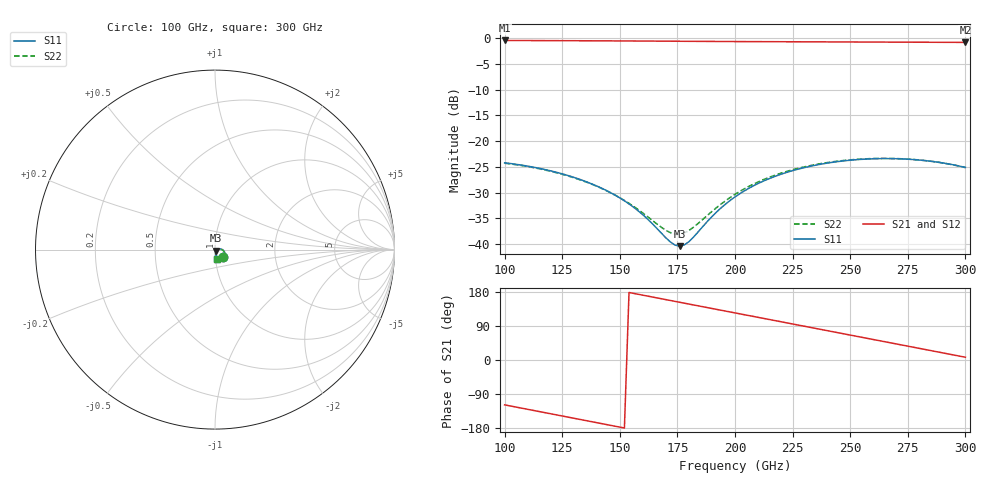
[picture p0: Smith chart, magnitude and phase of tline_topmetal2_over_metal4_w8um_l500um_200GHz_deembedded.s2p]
! Created with skrf 2.2.0 (http://scikit-rf.org).
# GHz S DB R 50.0
! Port[1] = P1
! Port[2] = P2
!freq dBS11 angS11 dBS21 angS21 dBS12 angS12 dBS22 angS22
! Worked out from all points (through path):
!   101 points, 100 GHz to 300 GHz, reference 50 ohm
!   highest |S21| = -0.43 dB at 100 GHz (marker M1); lowest = -0.8 dB at 300 GHz (marker M2)
!   group delay of S21, straight-line fit = 3.25 ps
!   lowest |S11| = -40.4 dB at 176 GHz (marker M3), VSWR 1.02, Z = 50.8 - j0.581 ohm
!   |S11| at or under -10 dB: start of sweep to end of sweep
!   |S22| runs from -38.1 to -23.4 dB; largest |S21 - S12| = 1.1e-14
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100  -24.22 -45.4  -0.43 -118.4  -0.43 -118.4  -24.30 -44.2
108  -24.72 -52.6  -0.44 -127.8  -0.44 -127.8  -24.80 -51.1
118  -25.58 -61.2  -0.46 -139.5  -0.46 -139.5  -25.66 -59.3
134  -27.65 -73.7  -0.49 -158.3  -0.49 -158.3  -27.73 -70.7
144  -29.57 -79.9  -0.51 -170.1  -0.51 -170.1  -29.60 -75.7
152  -31.61 -82.9  -0.53 -179.5  -0.53 -179.5  -31.54 -77.3
160  -34.32 -82.1  -0.54 171.1  -0.54 171.1  -33.98 -74.3
168  -37.88 -71.3  -0.56 161.7  -0.56 161.7  -36.75 -61.6
172  -39.63 -57.5  -0.57 157.0  -0.57 157.0  -37.81 -49.3
176  -40.43 -36.9  -0.58 152.3  -0.58 152.3  -38.08 -33.8
180  -39.55 -16.2  -0.60 147.6  -0.60 147.6  -37.37 -18.9
192  -33.79 8.0  -0.63 133.6  -0.63 133.6  -32.93 1.8
200  -30.85 7.6  -0.64 124.3  -0.64 124.3  -30.35 2.4
208  -28.70 3.2  -0.66 114.9  -0.66 114.9  -28.36 -1.1
218  -26.75 -4.5  -0.67 103.2  -0.67 103.2  -26.53 -8.1
226  -25.62 -11.4  -0.69 93.9  -0.69 93.9  -25.45 -14.6
234  -24.77 -18.6  -0.70 84.5  -0.70 84.5  -24.64 -21.5
250  -23.72 -33.5  -0.73 65.8  -0.73 65.8  -23.64 -35.9
258  -23.47 -40.9  -0.74 56.4  -0.74 56.4  -23.42 -43.2
268  -23.40 -50.2  -0.75 44.7  -0.75 44.7  -23.37 -52.2
284  -23.86 -64.6  -0.78 26.0  -0.78 26.0  -23.86 -66.4
300  -25.12 -77.9  -0.80 7.3  -0.80 7.3  -25.15 -79.6
